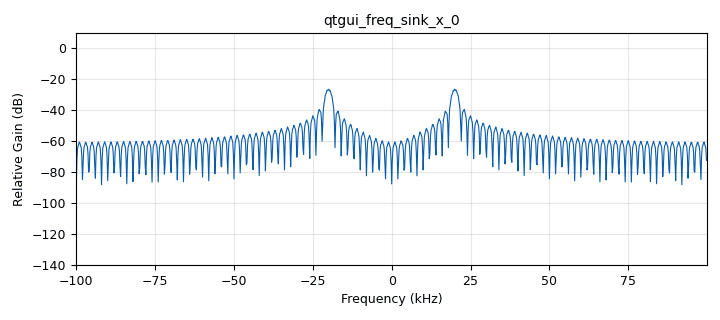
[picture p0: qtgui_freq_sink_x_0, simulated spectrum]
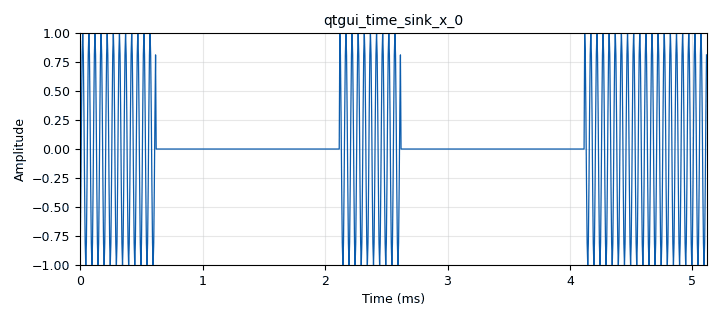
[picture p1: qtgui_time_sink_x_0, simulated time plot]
options:
  parameters:
    generate_options: qt_gui
    id: ook
    output_language: python
    title: Not titled yet
  states: {}

blocks:
- name: A
  id: variable
  parameters:
    value: '1.0'
  states: {}
- name: bit_rate
  id: variable
  parameters:
    value: 2e3
  states: {}
- name: fc
  id: variable
  parameters:
    value: 20e3
  states: {}
- name: samp_rate
  id: variable
  parameters:
    value: '200000'
  states: {}
- name: sps
  id: variable
  parameters:
    value: int(samp_rate/bit_rate)
  states: {}
- name: analog_random_source_x_0
  id: analog_random_source_x
  parameters:
    max: '2'
    min: '0'
    num_samps: '1000'
    repeat: 'True'
    type: byte
  states: {}
- name: analog_sig_source_x_0
  id: analog_sig_source_x
  parameters:
    amp: '1'
    freq: fc
    offset: '0'
    phase: '0'
    samp_rate: samp_rate
    type: float
    waveform: analog.GR_COS_WAVE
  states: {}
- name: blocks_char_to_float_0
  id: blocks_char_to_float
  parameters:
    scale: '1'
  states: {}
- name: blocks_multiply_const_xx_0
  id: blocks_multiply_const_xx
  parameters:
    const: A
    type: float
  states: {}
- name: blocks_multiply_xx_0
  id: blocks_multiply_xx
  parameters:
    type: float
  states: {}
- name: blocks_repeat_0
  id: blocks_repeat
  parameters:
    interp: sps
    type: float
  states: {}
- name: blocks_throttle_0
  id: blocks_throttle
  parameters:
    samples_per_second: samp_rate
    type: float
  states: {}
- name: qtgui_freq_sink_x_0
  id: qtgui_freq_sink_x
  parameters:
    bw: samp_rate
    fc: '0'
    fftsize: '1024'
    type: float
  states: {}
- name: qtgui_time_sink_x_0
  id: qtgui_time_sink_x
  parameters:
    size: '1024'
    srate: samp_rate
    type: float
  states: {}

connections:
- [analog_random_source_x_0, '0', blocks_char_to_float_0, '0']
- [analog_sig_source_x_0, '0', blocks_multiply_xx_0, '1']
- [blocks_char_to_float_0, '0', blocks_repeat_0, '0']
- [blocks_multiply_const_xx_0, '0', blocks_multiply_xx_0, '0']
- [blocks_multiply_xx_0, '0', blocks_throttle_0, '0']
- [blocks_repeat_0, '0', blocks_multiply_const_xx_0, '0']
- [blocks_throttle_0, '0', qtgui_freq_sink_x_0, '0']
- [blocks_throttle_0, '0', qtgui_time_sink_x_0, '0']

metadata:
  file_format: 1
  grc_version: 3.10.5.1
